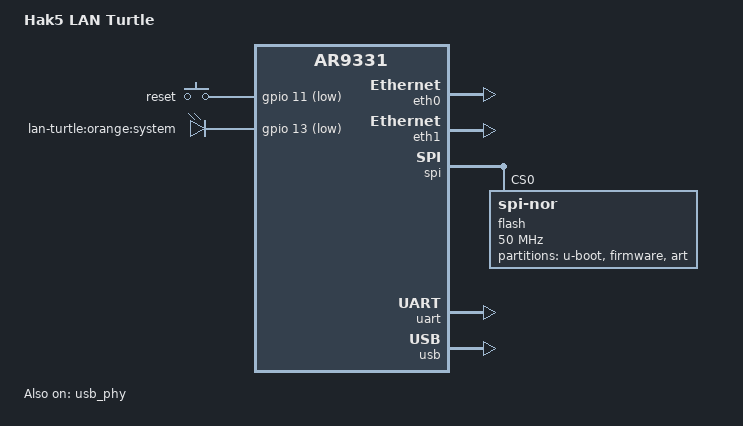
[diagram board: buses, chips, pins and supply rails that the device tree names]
// SPDX-License-Identifier: GPL-2.0-or-later OR MIT

#include "ar9331.dtsi"

#include <dt-bindings/gpio/gpio.h>
#include <dt-bindings/input/input.h>

/ {
	model = "Hak5 LAN Turtle";
	compatible = "hak5,lan-turtle", "qca,ar9331";

	aliases {
		led-boot = &led_system;
		led-failsafe = &led_system;
		led-upgrade = &led_system;
		serial0 = &uart;
	};

	keys {
		compatible = "gpio-keys";

		pinctrl-names = "default";
		pinctrl-0 = <&enable_gpio11>;

		reset {
			label = "reset";
			linux,code = <KEY_RESTART>;
			gpios = <&gpio 11 GPIO_ACTIVE_LOW>;
			debounce-interval = <60>;
		};
	};

	leds {
		compatible = "gpio-leds";

		pinctrl-names = "default";
		pinctrl-0 = <&switch_led_disable_pins>;

		led_system: system {
			label = "lan-turtle:orange:system";
			gpios = <&gpio 13 GPIO_ACTIVE_LOW>;
		};
	};
};

&eth0 {
	status = "okay";

	mtd-mac-address = <&uboot 0x1fc00>;
	mtd-mac-address-increment = <(-1)>;

	gmac-config {
		device = <&gmac>;

		switch-phy-addr-swap = <1>;
		switch-phy-swap = <1>;
	};
};

&eth1 {
	status = "okay";

	mtd-mac-address = <&uboot 0x1fc00>;
	mtd-mac-address-increment = <1>;
};

&pinmux {
	enable_gpio11: pinmux_enable_gpio11 {
		pinctrl-single,bits = <0x0 0x0 0x4>;
	};
};

&spi {
	status = "okay";

	num-cs = <1>;

	flash@0 {
		compatible = "jedec,spi-nor";
		reg = <0>;
		spi-max-frequency = <50000000>;
		m25p,fast-read;

		partitions {
			compatible = "fixed-partitions";
			#address-cells = <1>;
			#size-cells = <1>;

			uboot: partition@0 {
				label = "u-boot";
				reg = <0x000000 0x020000>;
				read-only;
			};

			partition@20000 {
				label = "firmware";
				reg = <0x020000 0xfd0000>;
				compatible = "tplink,firmware";
			};

			partition@ff0000 {
				label = "art";
				reg = <0xff0000 0x010000>;
				read-only;
			};
		};
	};
};

&uart {
	status = "okay";
};

&usb {
	status = "okay";
};

&usb_phy {
	status = "okay";
};
